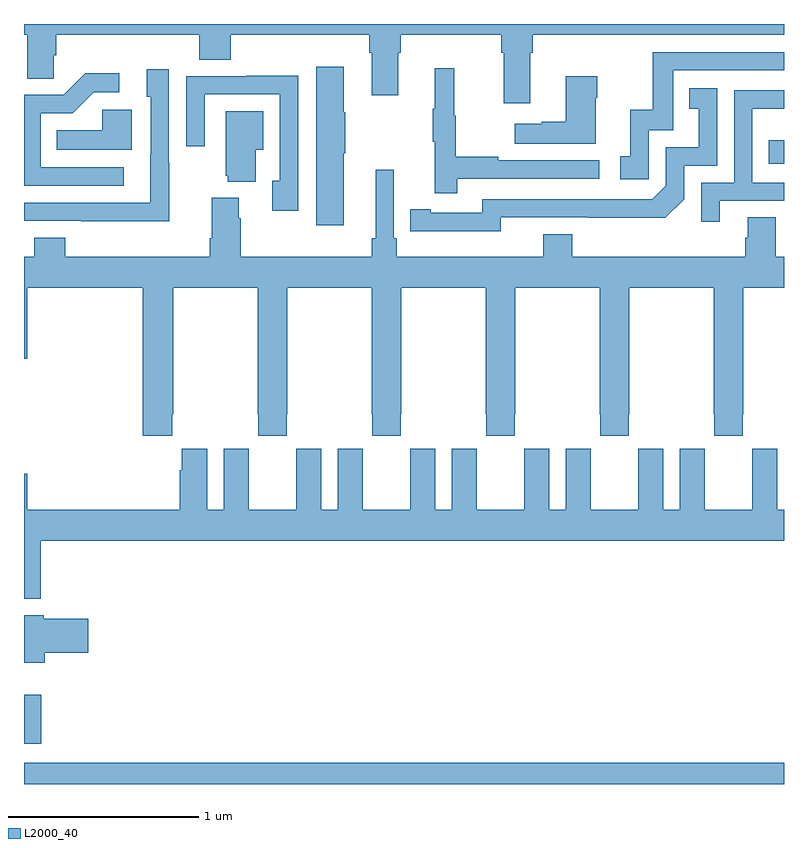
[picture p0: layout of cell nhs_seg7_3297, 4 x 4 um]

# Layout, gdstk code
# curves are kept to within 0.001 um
import gdstk
lib = gdstk.Library(unit=1e-6, precision=1e-09)
def R(c, l, rs):  # rectangles x0, y0, x1, y1
    for r in rs: c.add(gdstk.rectangle(r[:2], r[2:], *l))
def P(c, l, *ps):  # polygons
    for p in ps: c.add(gdstk.Polygon(p, *l))
L2000_40 = (2000, 40)

nhs_seg7_3297 = lib.new_cell('nhs_seg7_3297')
R(nhs_seg7_3297, L2000_40, [(321,1002,325,1002.112), (321,1002.212,321.091,1002.469), (324.919,1005.264,325,1005.387)])
P(nhs_seg7_3297, L2000_40, [(323.665,1005.848),(323.678,1005.848),(323.678,1005.944),(325,1005.944),(325,1006),(321,1006),(321,1005.944),(321.017,1005.944),(321.017,1005.712),(321.156,1005.712),(321.156,1005.835),(321.17,1005.835),(321.17,1005.944),(321.923,1005.944),(321.923,1005.811),(322.088,1005.811),(322.088,1005.944),(322.817,1005.944),(322.817,1005.848),(322.829,1005.848),(322.829,1005.624),(322.969,1005.624),(322.969,1005.848),(322.982,1005.848),(322.982,1005.944),(323.513,1005.944),(323.513,1005.848),(323.525,1005.848),(323.525,1005.582),(323.665,1005.582)],
  [(324.288,1005.441),(324.417,1005.441),(324.417,1005.756),(325,1005.756),(325,1005.852),(324.309,1005.852),(324.309,1005.55),(324.191,1005.55),(324.191,1005.303),(324.138,1005.303),(324.138,1005.183),(324.288,1005.183)],
  [(322.684,1005.319),(322.692,1005.319),(322.692,1005.536),(322.684,1005.536),(322.684,1005.775),(322.538,1005.775),(322.538,1004.94),(322.684,1004.94)],
  [(323.279,1005.186),(324.028,1005.186),(324.028,1005.282),(323.495,1005.282),(323.495,1005.302),(323.272,1005.302),(323.272,1005.516),(323.264,1005.516),(323.264,1005.766),(323.162,1005.766),(323.162,1005.553),(323.151,1005.553),(323.151,1005.379),(323.162,1005.379),(323.162,1005.108),(323.279,1005.108)],
  [(321.765,1005.269),(321.762,1005.269),(321.762,1005.763),(321.647,1005.763),(321.647,1005.618),(321.666,1005.618),(321.666,1005.314),(321.665,1005.314),(321.665,1005.06),(321,1005.06),(321,1004.964),(321.301,1004.964),(321.301,1004.963),(321.765,1004.963)],
  [(321.526,1005.246),(321.087,1005.246),(321.087,1005.531),(321.256,1005.531),(321.367,1005.642),(321.502,1005.642),(321.502,1005.74),(321.323,1005.74),(321.21,1005.627),(321,1005.627),(321,1005.15),(321.526,1005.15)],
  [(322.443,1005.728),(322.171,1005.728),(322.171,1005.726),(321.855,1005.726),(321.855,1005.357),(321.951,1005.357),(321.951,1005.63),(322.347,1005.63),(322.347,1005.174),(322.307,1005.174),(322.307,1005.018),(322.443,1005.018)],
  [(324.01,1005.611),(324.018,1005.611),(324.018,1005.724),(323.852,1005.724),(323.852,1005.485),(323.726,1005.485),(323.726,1005.475),(323.583,1005.475),(323.583,1005.371),(324.01,1005.371)],
  [(323.508,1004.982),(324.376,1004.981),(324.474,1005.078),(324.474,1005.255),(324.648,1005.255),(324.648,1005.661),(324.502,1005.661),(324.502,1005.555),(324.551,1005.555),(324.551,1005.351),(324.378,1005.351),(324.378,1005.15),(324.306,1005.078),(323.412,1005.078),(323.412,1005.006),(323.14,1005.006),(323.14,1005.026),(323.032,1005.026),(323.032,1004.91),(323.508,1004.909)],
  [(324.661,1005.069),(325,1005.069),(325,1005.165),(324.834,1005.165),(324.834,1005.554),(325,1005.554),(325,1005.651),(324.738,1005.651),(324.738,1005.165),(324.564,1005.165),(324.564,1004.958),(324.661,1004.958)],
  [(321.568,1005.55),(321.411,1005.55),(321.411,1005.442),(321.172,1005.442),(321.172,1005.338),(321.568,1005.338)],
  [(322.219,1005.338),(322.258,1005.338),(322.258,1005.541),(322.061,1005.541),(322.061,1005.201),(322.073,1005.201),(322.073,1005.17),(322.219,1005.17)],
  [(322.961,1004.872),(322.947,1004.872),(322.947,1005.232),(322.85,1005.232),(322.85,1004.872),(322.831,1004.872),(322.831,1004.776),(322.142,1004.776),(322.142,1004.978),(322.129,1004.978),(322.129,1005.085),(321.989,1005.085),(321.989,1004.872),(321.977,1004.872),(321.977,1004.776),(321.218,1004.776),(321.218,1004.875),(321.053,1004.875),(321.053,1004.776),(321,1004.776),(321,1004.238),(321.016,1004.238),(321.016,1004.612),(321.626,1004.612),(321.626,1003.833),(321.779,1003.833),(321.779,1003.945),(321.786,1003.945),(321.786,1004.612),(322.231,1004.612),(322.231,1003.945),(322.233,1003.945),(322.233,1003.833),(322.383,1003.833),(322.383,1003.945),(322.386,1003.945),(322.386,1004.612),(322.831,1004.612),(322.831,1003.945),(322.833,1003.945),(322.833,1003.833),(322.983,1003.833),(322.983,1003.945),(322.986,1003.945),(322.986,1004.612),(323.431,1004.612),(323.431,1003.945),(323.433,1003.945),(323.433,1003.833),(323.583,1003.833),(323.583,1003.945),(323.586,1003.945),(323.586,1004.612),(324.031,1004.612),(324.031,1003.945),(324.033,1003.945),(324.033,1003.833),(324.183,1003.833),(324.183,1003.945),(324.186,1003.945),(324.186,1004.612),(324.631,1004.612),(324.631,1003.945),(324.633,1003.945),(324.633,1003.833),(324.783,1003.833),(324.783,1003.945),(324.786,1003.945),(324.786,1004.612),(325,1004.612),(325,1004.776),(324.957,1004.776),(324.957,1004.984),(324.809,1004.984),(324.809,1004.874),(324.797,1004.874),(324.797,1004.776),(323.885,1004.776),(323.885,1004.893),(323.732,1004.893),(323.732,1004.776),(322.961,1004.776)],
  [(325,1003.444),(324.964,1003.444),(324.964,1003.765),(324.834,1003.765),(324.834,1003.652),(324.833,1003.652),(324.833,1003.444),(324.583,1003.444),(324.583,1003.652),(324.582,1003.652),(324.582,1003.765),(324.452,1003.765),(324.452,1003.444),(324.364,1003.444),(324.364,1003.765),(324.234,1003.765),(324.234,1003.652),(324.233,1003.652),(324.233,1003.444),(323.983,1003.444),(323.983,1003.652),(323.982,1003.652),(323.982,1003.765),(323.852,1003.765),(323.852,1003.444),(323.764,1003.444),(323.764,1003.765),(323.634,1003.765),(323.634,1003.652),(323.633,1003.652),(323.633,1003.444),(323.383,1003.444),(323.383,1003.652),(323.382,1003.652),(323.382,1003.765),(323.252,1003.765),(323.252,1003.444),(323.164,1003.444),(323.164,1003.765),(323.034,1003.765),(323.034,1003.652),(323.033,1003.652),(323.033,1003.444),(322.783,1003.444),(322.783,1003.652),(322.782,1003.652),(322.782,1003.765),(322.652,1003.765),(322.652,1003.444),(322.564,1003.444),(322.564,1003.765),(322.434,1003.765),(322.434,1003.652),(322.433,1003.652),(322.433,1003.444),(322.183,1003.444),(322.183,1003.652),(322.182,1003.652),(322.182,1003.765),(322.052,1003.765),(322.052,1003.444),(321.964,1003.444),(321.964,1003.765),(321.83,1003.765),(321.83,1003.652),(321.821,1003.652),(321.821,1003.444),(321.016,1003.444),(321.016,1003.633),(321,1003.633),(321,1002.974),(321.089,1002.974),(321.089,1003.28),(325,1003.28)],
  [(321.109,1002.692),(321.337,1002.692),(321.337,1002.87),(321.105,1002.87),(321.105,1002.889),(321,1002.889),(321,1002.638),(321.109,1002.638)])

lib.write_gds('nhs_seg7_3297.gds')
